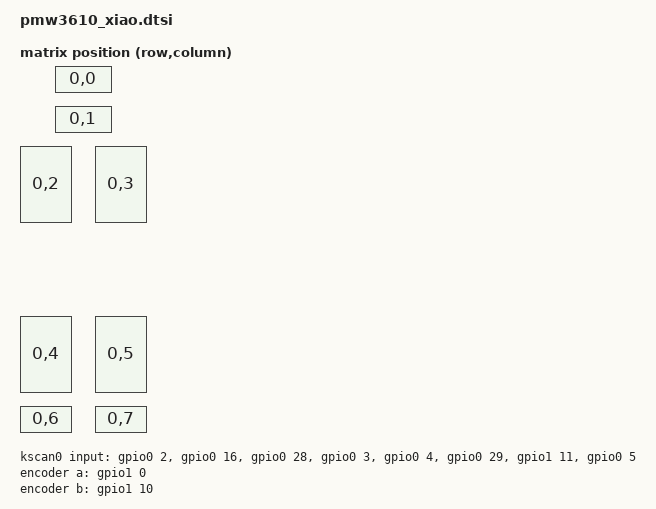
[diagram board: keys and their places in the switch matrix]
#include <physical_layouts.dtsi>
#include <dt-bindings/zmk/matrix_transform.h>
#include <zephyr/dt-bindings/input/input-event-codes.h>
#include <dt-bindings/zmk/input_transform.h>
#include <input/processors.dtsi>

/ {

    chosen {
        zmk,kscan = &kscan0;
        zmk,physical-layout = &physical_layout0;
    };

    trackball_listener {
        compatible = "zmk,input-listener";
        device = <&trackball>;

        /* Layer 0 (default): 0 - no processor needed */

        /* Layer 1: 90 CW - swap XY then invert X */
        rot90_layer {
            layers = <1>;
            input-processors = <&zip_xy_transform (INPUT_TRANSFORM_XY_SWAP | INPUT_TRANSFORM_X_INVERT)>;
        };

        /* Layer 2: 180 - invert both X and Y */
        rot180_layer {
            layers = <2>;
            input-processors = <&zip_xy_transform (INPUT_TRANSFORM_X_INVERT | INPUT_TRANSFORM_Y_INVERT)>;
        };

        /* Layer 3: 270 CW - swap XY then invert Y */
        rot270_layer {
            layers = <3>;
            input-processors = <&zip_xy_transform (INPUT_TRANSFORM_XY_SWAP | INPUT_TRANSFORM_Y_INVERT)>;
        };
    };

    matrix_transform0: matrix_transform0 {
        compatible = "zmk,matrix-transform";
        rows = <1>;
        columns = <8>;
        map = <
            RC(0,0) RC(0,1) RC(0,2) RC(0,3) RC(0,4) RC(0,5) RC(0,6) RC(0,7)
        >;
    };

    kscan0: kscan0 {
        compatible = "zmk,kscan-gpio-direct";
        wakeup-source;
        input-gpios
            = <&gpio0 2  (GPIO_ACTIVE_LOW | GPIO_PULL_UP)>
            , <&gpio0 16 (GPIO_ACTIVE_LOW | GPIO_PULL_UP)>
            , <&gpio0 28 (GPIO_ACTIVE_LOW | GPIO_PULL_UP)>
            , <&gpio0 3  (GPIO_ACTIVE_LOW | GPIO_PULL_UP)>
            , <&gpio0 4  (GPIO_ACTIVE_LOW | GPIO_PULL_UP)>
            , <&gpio0 29 (GPIO_ACTIVE_LOW | GPIO_PULL_UP)>
            , <&gpio1 11 (GPIO_ACTIVE_LOW | GPIO_PULL_UP)>
            , <&gpio0 5  (GPIO_ACTIVE_LOW | GPIO_PULL_UP)>
            ;
    };

    physical_layout0: physical_layout0 {
        compatible = "zmk,physical-layout";
        display-name = "Default";
        kscan = <&kscan0>;
        transform = <&matrix_transform0>;
        keys
            = <&key_physical_attrs 120  60  90  20 0 0 0>  /* Key 0: 0.02 (Top Center) */
            , <&key_physical_attrs 120  60  90 100 0 0 0>  /* Key 1: 0.16 (Upper Center) */
            , <&key_physical_attrs 110 160  20 180 0 0 0>  /* Key 2: 0.28 (Upper Left) */
            , <&key_physical_attrs 110 160 170 180 0 0 0>  /* Key 3: 0.03 (Upper Right) */
            , <&key_physical_attrs 110 160  20 520 0 0 0>  /* Key 4: 0.04 (Lower Left) */
            , <&key_physical_attrs 110 160 170 520 0 0 0>  /* Key 5: 0.29 (Lower Right) */
            , <&key_physical_attrs 110  60  20 700 0 0 0>  /* Key 6: 1.11 (Bottom Left) */
            , <&key_physical_attrs 110  60 170 700 0 0 0>  /* Key 7: 0.05 (Bottom Right) */
            ;
    };



    encoder: encoder {
        compatible = "alps,ec11";
        a-gpios = <&gpio1 0  (GPIO_ACTIVE_HIGH | GPIO_PULL_UP)>;
        b-gpios = <&gpio1 10 (GPIO_ACTIVE_HIGH | GPIO_PULL_UP)>;
        steps = <48>;
        status = "okay";
    };

    sensors: sensors {
        compatible = "zmk,keymap-sensors";
        sensors = <&encoder>;
        status = "okay";
        triggers-per-rotation = <24>;
    };
};
